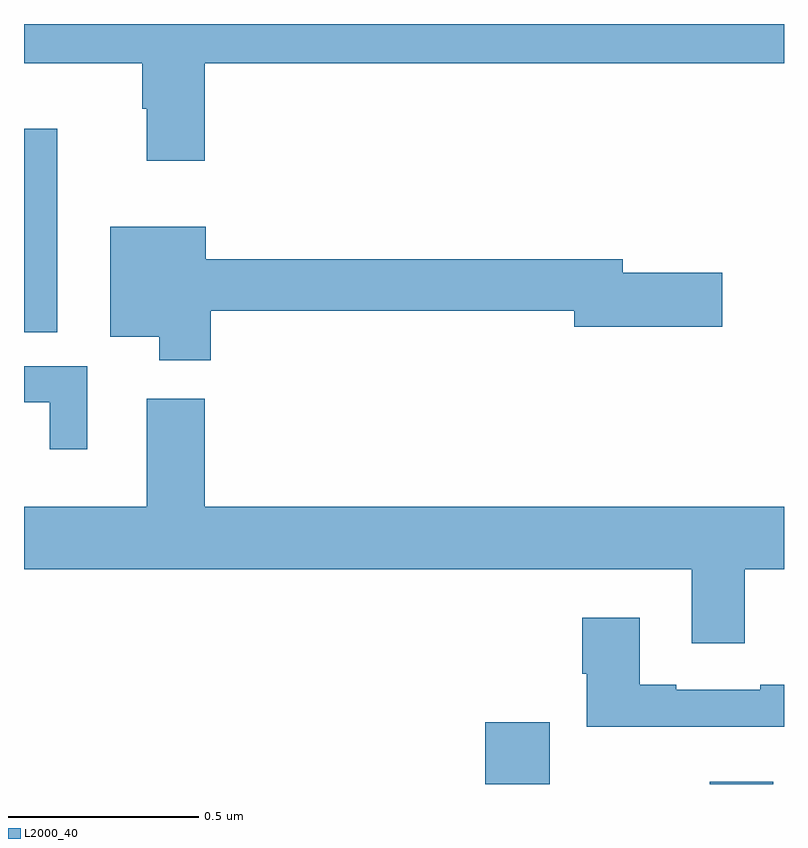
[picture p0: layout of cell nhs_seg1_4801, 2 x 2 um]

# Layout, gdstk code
import gdstk
lib = gdstk.Library(unit=1e-6, precision=1e-09)
def R(c, l, rs):  # rectangles x0, y0, x1, y1
    for r in rs: c.add(gdstk.rectangle(r[:2], r[2:], *l))
def P(c, l, *ps):  # polygons
    for p in ps: c.add(gdstk.Polygon(p, *l))
L2000_40 = (2000, 40)

nhs_seg1_4801 = lib.new_cell('nhs_seg1_4801')
R(nhs_seg1_4801, L2000_40, [(172.214,519.199,172.384,519.361), (172.805,519.199,172.972,519.205), (171,520.388,171.088,520.924)])
P(nhs_seg1_4801, L2000_40, [(171.476,521.096),(173,521.096),(173,521.199),(171,521.199),(171,521.096),(171.311,521.096),(171.311,520.976),(171.323,520.976),(171.323,520.839),(171.476,520.839)],
  [(171.491,520.444),(172.448,520.444),(172.448,520.402),(172.837,520.402),(172.837,520.544),(172.576,520.544),(172.576,520.58),(171.478,520.58),(171.478,520.666),(171.227,520.666),(171.227,520.376),(171.356,520.376),(171.356,520.314),(171.491,520.314)],
  [(171.166,520.299),(171,520.299),(171,520.203),(171.068,520.203),(171.068,520.08),(171.166,520.08)],
  [(172.897,519.764),(173,519.764),(173,519.928),(171.476,519.928),(171.476,520.213),(171.323,520.213),(171.323,519.928),(171,519.928),(171,519.764),(172.757,519.764),(172.757,519.57),(172.897,519.57)],
  [(173,519.46),(172.937,519.46),(172.937,519.447),(172.717,519.447),(172.717,519.46),(172.621,519.46),(172.621,519.637),(172.469,519.637),(172.469,519.489),(172.481,519.489),(172.481,519.35),(173,519.35)])

lib.write_gds('nhs_seg1_4801.gds')
